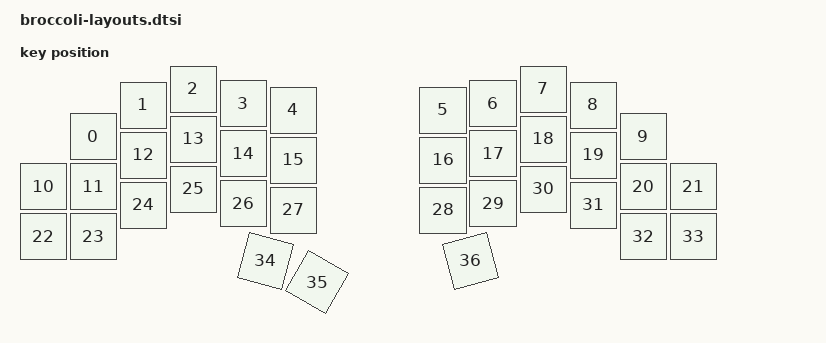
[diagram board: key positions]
// See https://zmk.dev/docs/development/hardware-integration/physical-layouts
// for how to configure this.

#include <physical_layouts.dtsi>

/ {
    default_layout: default_layout {
        compatible = "zmk,physical-layout";
        display-name = "Default Layout";
        transform = <&default_transform>;
        kscan = <&kscan>;

        // Edit this to define the positions and sizes of the keys, or remove it
        // if your keyboard will not support ZMK Studio.
        // https://zmk.dev/docs/development/hardware-integration/physical-layouts#optional-keys-property
        keys  //                     w   h    x    y     rot    rx    ry
            = <&key_physical_attrs 100 100  100   95       0     0     0>
            , <&key_physical_attrs 100 100  200   32       0     0     0>
            , <&key_physical_attrs 100 100  300    0       0     0     0>
            , <&key_physical_attrs 100 100  400   29       0     0     0>
            , <&key_physical_attrs 100 100  500   42       0     0     0>
            , <&key_physical_attrs 100 100  800   42       0     0     0>
            , <&key_physical_attrs 100 100  900   29       0     0     0>
            , <&key_physical_attrs 100 100 1000    0       0     0     0>
            , <&key_physical_attrs 100 100 1100   32       0     0     0>
            , <&key_physical_attrs 100 100 1200   95       0     0     0>
            , <&key_physical_attrs 100 100    0  195       0     0     0>
            , <&key_physical_attrs 100 100  100  195       0     0     0>
            , <&key_physical_attrs 100 100  200  132       0     0     0>
            , <&key_physical_attrs 100 100  300  100       0     0     0>
            , <&key_physical_attrs 100 100  400  129       0     0     0>
            , <&key_physical_attrs 100 100  500  142       0     0     0>
            , <&key_physical_attrs 100 100  800  142       0     0     0>
            , <&key_physical_attrs 100 100  900  129       0     0     0>
            , <&key_physical_attrs 100 100 1000  100       0     0     0>
            , <&key_physical_attrs 100 100 1100  132       0     0     0>
            , <&key_physical_attrs 100 100 1200  195       0     0     0>
            , <&key_physical_attrs 100 100 1300  195       0     0     0>
            , <&key_physical_attrs 100 100    0  295       0     0     0>
            , <&key_physical_attrs 100 100  100  295       0     0     0>
            , <&key_physical_attrs 100 100  200  232       0     0     0>
            , <&key_physical_attrs 100 100  300  200       0     0     0>
            , <&key_physical_attrs 100 100  400  229       0     0     0>
            , <&key_physical_attrs 100 100  500  242       0     0     0>
            , <&key_physical_attrs 100 100  800  242       0     0     0>
            , <&key_physical_attrs 100 100  900  229       0     0     0>
            , <&key_physical_attrs 100 100 1000  200       0     0     0>
            , <&key_physical_attrs 100 100 1100  232       0     0     0>
            , <&key_physical_attrs 100 100 1200  295       0     0     0>
            , <&key_physical_attrs 100 100 1300  295       0     0     0>
            , <&key_physical_attrs 100 100  430  355    1500   530   455>
            , <&key_physical_attrs 100 100  530  355    3000   530   455>
            , <&key_physical_attrs 100 100  870  355 (-1500)   870   455>
            ;
    };
};
